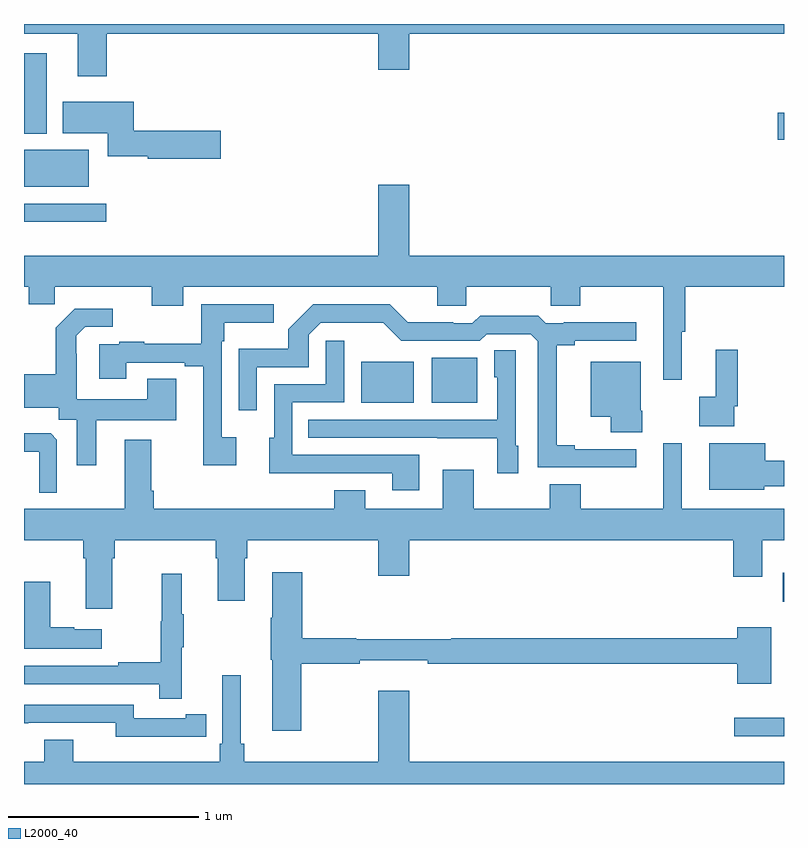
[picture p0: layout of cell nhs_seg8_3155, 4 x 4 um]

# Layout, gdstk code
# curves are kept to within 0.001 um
import gdstk
lib = gdstk.Library(unit=1e-6, precision=1e-09)
def R(c, l, rs):  # rectangles x0, y0, x1, y1
    for r in rs: c.add(gdstk.rectangle(r[:2], r[2:], *l))
def P(c, l, *ps):  # polygons
    for p in ps: c.add(gdstk.Polygon(p, *l))
L2000_40 = (2000, 40)

nhs_seg8_3155 = lib.new_cell('nhs_seg8_3155')
R(nhs_seg8_3155, L2000_40, [(310.737,1098.152,311,1098.249), (310.994,1098.858,311,1099.012), (308.774,1099.907,309.052,1100.122), (309.146,1099.907,309.385,1100.143), (307,1100.858,307.432,1100.955), (310.968,1101.29,311,1101.432), (307,1101.323,307.12,1101.745)])
P(nhs_seg8_3155, L2000_40, [(307.436,1101.848),(308.864,1101.848),(308.864,1101.66),(309.028,1101.66),(309.028,1101.848),(311,1101.848),(311,1101.9),(307,1101.9),(307,1101.848),(307.283,1101.848),(307.283,1101.624),(307.436,1101.624)],
  [(308.035,1101.338),(307.577,1101.338),(307.577,1101.49),(307.205,1101.49),(307.205,1101.326),(307.442,1101.326),(307.442,1101.203),(307.65,1101.203),(307.65,1101.191),(308.035,1101.191)],
  [(307.342,1101.238),(307.116,1101.238),(307.116,1101.237),(307,1101.237),(307,1101.044),(307.342,1101.044)],
  [(309.028,1101.055),(308.864,1101.055),(308.864,1100.68),(307,1100.68),(307,1100.516),(307.025,1100.516),(307.025,1100.426),(307.163,1100.426),(307.163,1100.516),(307.673,1100.516),(307.673,1100.417),(307.837,1100.417),(307.837,1100.516),(309.176,1100.516),(309.176,1100.418),(309.327,1100.418),(309.327,1100.516),(309.772,1100.516),(309.772,1100.418),(309.927,1100.418),(309.927,1100.516),(310.364,1100.516),(310.364,1100.028),(310.463,1100.028),(310.463,1100.28),(310.481,1100.28),(310.481,1100.516),(311,1100.516),(311,1100.68),(309.028,1100.68)],
  [(310.222,1099.662),(309.898,1099.662),(309.898,1099.682),(309.803,1099.682),(309.803,1100.21),(309.898,1100.21),(309.898,1100.232),(310.222,1100.232),(310.222,1100.33),(309.841,1100.33),(309.841,1100.325),(309.747,1100.325),(309.707,1100.365),(309.4,1100.365),(309.36,1100.325),(309.26,1100.325),(309.26,1100.33),(309.02,1100.33),(308.925,1100.424),(308.522,1100.424),(308.392,1100.294),(308.392,1100.191),(308.13,1100.191),(308.13,1099.866),(308.226,1099.866),(308.226,1100.094),(308.499,1100.094),(308.499,1100.265),(308.562,1100.328),(308.891,1100.327),(308.985,1100.232),(309.399,1100.232),(309.435,1100.268),(309.666,1100.268),(309.705,1100.229),(309.705,1099.566),(310.222,1099.566)],
  [(308.116,1099.726),(308.04,1099.726),(308.04,1100.231),(308.053,1100.231),(308.053,1100.327),(308.314,1100.327),(308.314,1100.424),(307.932,1100.424),(307.932,1100.216),(307.633,1100.216),(307.633,1100.227),(307.501,1100.227),(307.501,1100.214),(307.397,1100.214),(307.397,1100.034),(307.537,1100.034),(307.537,1100.118),(307.847,1100.118),(307.847,1100.1),(307.943,1100.1),(307.943,1099.578),(308.116,1099.578)],
  [(307.381,1099.814),(307.801,1099.814),(307.801,1100.033),(307.649,1100.033),(307.649,1099.924),(307.278,1099.924),(307.278,1100.165),(307.276,1100.165),(307.276,1100.26),(307.323,1100.307),(307.468,1100.307),(307.468,1100.401),(307.267,1100.401),(307.167,1100.301),(307.167,1100.056),(307,1100.056),(307,1099.88),(307.182,1099.88),(307.182,1099.816),(307.277,1099.816),(307.277,1099.578),(307.381,1099.578)],
  [(309.079,1099.632),(308.412,1099.632),(308.412,1099.908),(308.685,1099.908),(308.685,1100.233),(308.589,1100.233),(308.589,1100.004),(308.316,1100.004),(308.316,1099.722),(308.291,1099.722),(308.291,1099.535),(308.509,1099.535),(308.509,1099.536),(308.939,1099.536),(308.939,1099.446),(309.079,1099.446)],
  [(310.737,1099.888),(310.757,1099.888),(310.757,1100.185),(310.64,1100.185),(310.64,1099.937),(310.554,1099.937),(310.554,1099.784),(310.737,1099.784)],
  [(309.601,1099.68),(309.588,1099.68),(309.588,1100.183),(309.476,1100.183),(309.476,1100.04),(309.492,1100.04),(309.492,1099.818),(308.497,1099.818),(308.497,1099.722),(309.175,1099.722),(309.175,1099.721),(309.492,1099.721),(309.492,1099.536),(309.601,1099.536)],
  [(310.254,1099.864),(310.246,1099.864),(310.246,1100.122),(309.983,1100.122),(309.983,1099.832),(310.088,1099.832),(310.088,1099.752),(310.254,1099.752)],
  [(307.173,1099.713),(307.141,1099.745),(307,1099.745),(307,1099.65),(307.08,1099.65),(307.08,1099.433),(307.173,1099.433)],
  [(310.733,1098.99),(310.885,1098.99),(310.885,1099.184),(311,1099.184),(311,1099.348),(310.462,1099.348),(310.462,1099.693),(310.364,1099.693),(310.364,1099.348),(309.931,1099.348),(309.931,1099.477),(309.767,1099.477),(309.767,1099.348),(309.367,1099.348),(309.367,1099.555),(309.203,1099.555),(309.203,1099.348),(308.797,1099.348),(308.797,1099.447),(308.633,1099.447),(308.633,1099.348),(307.682,1099.348),(307.682,1099.444),(307.669,1099.444),(307.669,1099.711),(307.529,1099.711),(307.529,1099.348),(307,1099.348),(307,1099.184),(307.313,1099.184),(307.313,1099.088),(307.325,1099.088),(307.325,1098.822),(307.465,1098.822),(307.465,1099.088),(307.478,1099.088),(307.478,1099.184),(308.009,1099.184),(308.009,1099.088),(308.021,1099.088),(308.021,1098.864),(308.161,1098.864),(308.161,1099.088),(308.174,1099.088),(308.174,1099.184),(308.864,1099.184),(308.864,1098.996),(309.028,1098.996),(309.028,1099.184),(310.733,1099.184)],
  [(310.896,1099.466),(311,1099.466),(311,1099.601),(310.9,1099.601),(310.9,1099.693),(310.607,1099.693),(310.607,1099.448),(310.896,1099.448)],
  [(308.46,1098.532),(308.768,1098.532),(308.768,1098.551),(309.124,1098.551),(309.124,1098.532),(310.754,1098.532),(310.754,1098.428),(310.933,1098.428),(310.933,1098.724),(310.754,1098.724),(310.754,1098.668),(309.248,1098.668),(309.248,1098.661),(308.748,1098.661),(308.748,1098.668),(308.465,1098.668),(308.465,1099.015),(308.306,1099.015),(308.306,1098.776),(308.299,1098.776),(308.299,1098.555),(308.306,1098.555),(308.306,1098.18),(308.46,1098.18)],
  [(307.829,1098.619),(307.84,1098.619),(307.84,1098.793),(307.829,1098.793),(307.829,1099.006),(307.726,1099.006),(307.726,1098.756),(307.719,1098.756),(307.719,1098.542),(307.495,1098.542),(307.495,1098.522),(307,1098.522),(307,1098.426),(307.711,1098.426),(307.711,1098.348),(307.829,1098.348)],
  [(307.408,1098.715),(307.265,1098.715),(307.265,1098.725),(307.138,1098.725),(307.138,1098.964),(307,1098.964),(307,1098.611),(307.408,1098.611)],
  [(311,1098.016),(309.028,1098.016),(309.028,1098.391),(308.864,1098.391),(308.864,1098.016),(308.159,1098.016),(308.159,1098.112),(308.14,1098.112),(308.14,1098.472),(308.043,1098.472),(308.043,1098.112),(308.03,1098.112),(308.03,1098.016),(307.258,1098.016),(307.258,1098.133),(307.106,1098.133),(307.106,1098.016),(307,1098.016),(307,1097.9),(311,1097.9)],
  [(307.85,1098.15),(307.958,1098.15),(307.958,1098.266),(307.85,1098.266),(307.85,1098.246),(307.578,1098.246),(307.578,1098.318),(307,1098.318),(307,1098.221),(307.022,1098.221),(307.022,1098.222),(307.482,1098.222),(307.482,1098.149),(307.85,1098.149)])

lib.write_gds('nhs_seg8_3155.gds')
